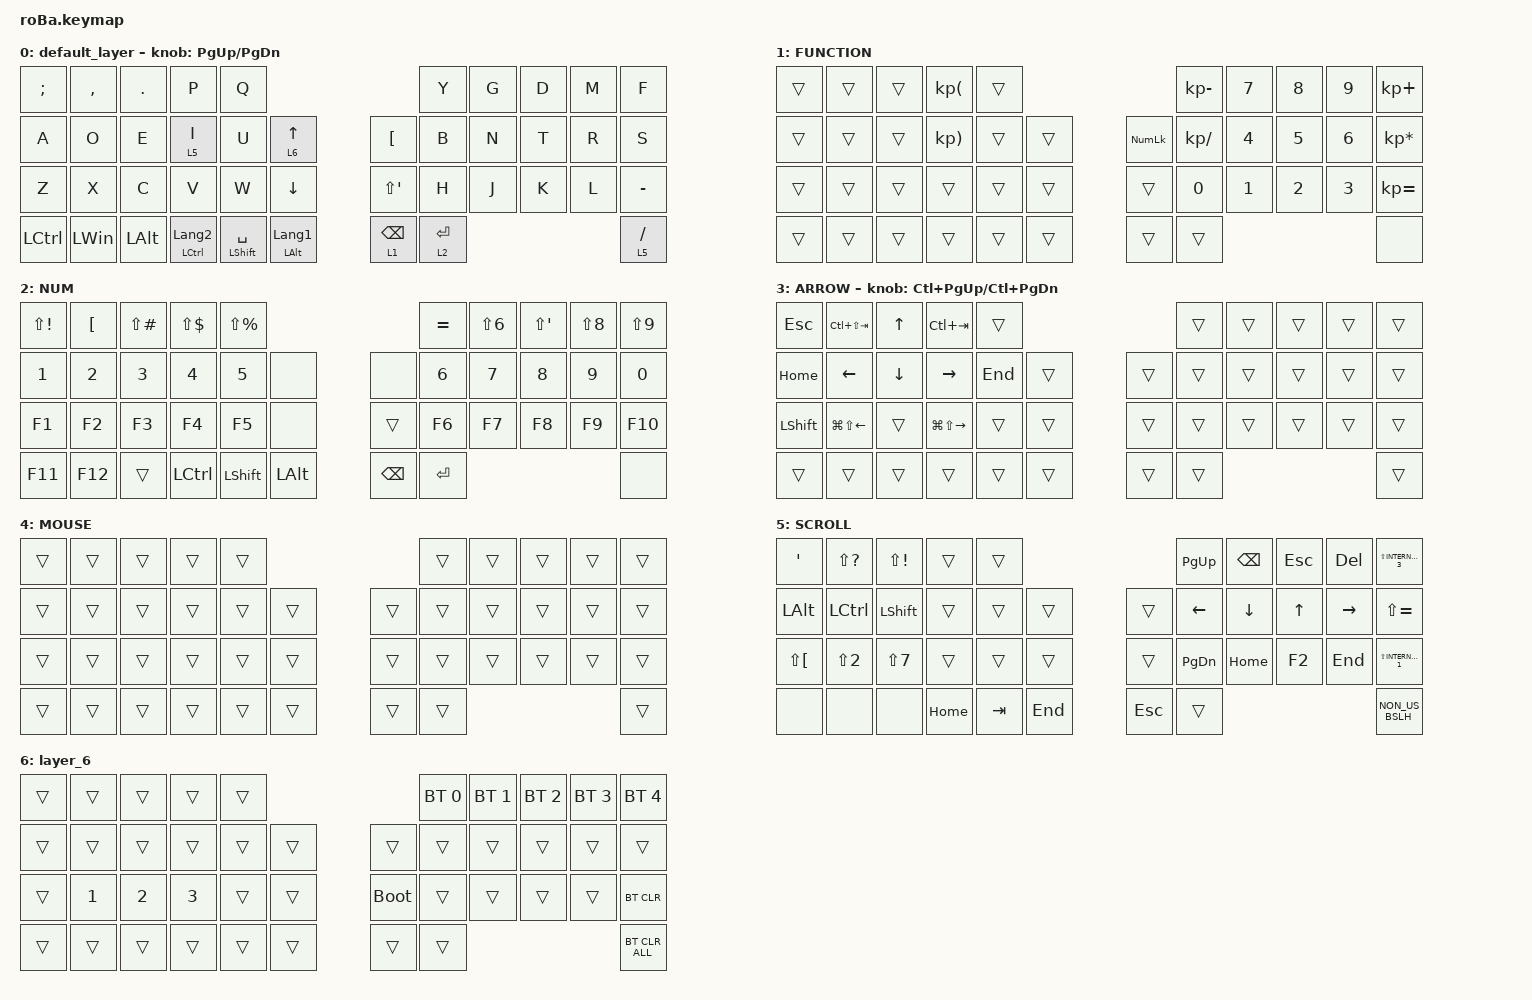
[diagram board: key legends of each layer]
#include <behaviors.dtsi>
#include <dt-bindings/zmk/bt.h>
#include <dt-bindings/zmk/keys.h>
#include <dt-bindings/zmk/pointing.h>

&mt {
    flavor = "balanced";
    quick-tap-ms = <0>;
};

&trackball {
    automouse-layer = <4>;
    scroll-layers = <5>;

    // arrows {
    //     layers = <3>;
    //     bindings =
    //         <&kp RIGHT_ARROW>,
    //         <&kp LEFT_ARROW>,
    //         <&kp UP_ARROW>,
    //         <&kp DOWN_ARROW>;
    //     tick = <10>;
    //     wait-ms = <5>;
    //     tap-ms = <5>;
    // };
};

/ {
    combos {
        compatible = "zmk,combos";

        cmb_lclk {
            bindings = <&mkp LCLK>;
            key-positions = <18 19>;
        };

        cmb_rclk {
            bindings = <&mkp RCLK>;
            key-positions = <19 20>;
        };

        cmb_mclk {
            bindings = <&mkp MCLK>;
            key-positions = <18 20>;
        };

        wrap_parent {
            bindings = <&wrap_parent>;
            key-positions = <14 17>;
        };

        wrap_brace {
            bindings = <&wrap_brace>;
            key-positions = <26 29>;
        };

        wrap_bracket {
            bindings = <&wrap_bracket>;
            key-positions = <4 5>;
        };
    };

    macros {
        wrap_parent: wrap_parent {
            compatible = "zmk,behavior-macro";
            #binding-cells = <0>;
            bindings = <&kp LS(N8) &kp LS(N9) &kp LEFT>;
            label = "WRAP_PARENT";
        };

        wrap_brace: wrap_brace {
            compatible = "zmk,behavior-macro";
            #binding-cells = <0>;
            bindings = <&kp LS(RIGHT_BRACKET) &kp LS(NON_US_HASH) &kp LEFT>;
            label = "WRAP_BRACE";
        };

        wrap_bracket: wrap_bracket {
            compatible = "zmk,behavior-macro";
            #binding-cells = <0>;
            bindings = <&kp RIGHT_BRACKET &kp NON_US_HASH &kp LEFT>;
            label = "WRAP_BRACKET";
        };

        kp_underscore: kp_underscore {
            compatible = "zmk,behavior-macro";
            #binding-cells = <0>;
            bindings = <&kp UNDER>;
            label = "KP_UNDERSCORE";
        };
    };

    keymap {
        compatible = "zmk,keymap";

        default_layer {
            bindings = <
&kp SEMI   &kp COMMA     &kp DOT       &kp P                 &kp Q                                                                    &kp Y        &kp G  &kp D  &kp M  &kp F
&kp A      &kp O         &kp E         &lt 5 I               &kp U                 &lt 6 UP_ARROW               &kp LEFT_BRACKET      &kp B        &kp N  &kp T  &kp R  &kp S
&kp Z      &kp X         &kp C         &kp V                 &kp W                 &kp DOWN_ARROW               &kp LS(SINGLE_QUOTE)  &kp H        &kp J  &kp K  &kp L  &kp MINUS
&kp LCTRL  &kp LEFT_WIN  &kp LEFT_ALT  &mt LCTRL LANGUAGE_2  &mt LEFT_SHIFT SPACE  &mt LEFT_ALT LANGUAGE_1      &lt 1 BACKSPACE       &lt 2 ENTER                       &lt 5 SLASH
            >;

            sensor-bindings = <&inc_dec_kp PG_UP PAGE_DOWN>;
        };

        FUNCTION {
            bindings = <
&trans  &trans  &trans  &kp KP_LEFT_PARENTHESIS   &trans                              &kp KP_SUBTRACT  &kp N7  &kp N8  &kp N9  &kp KP_PLUS
&trans  &trans  &trans  &kp KP_RIGHT_PARENTHESIS  &trans  &trans      &kp KP_NUMLOCK  &kp KP_DIVIDE    &kp N4  &kp N5  &kp N6  &kp KP_ASTERISK
&trans  &trans  &trans  &trans                    &trans  &trans      &trans          &kp N0           &kp N1  &kp N2  &kp N3  &kp KP_EQUAL
&trans  &trans  &trans  &trans                    &trans  &trans      &trans          &trans                                   &none
            >;
        };

        NUM {
            bindings = <
&kp LS(EXCL)  &kp LEFT_BRACKET  &kp LS(POUND)  &kp LS(DLLR)  &kp LS(PRCNT)                          &kp EQUAL  &kp LS(NUMBER_6)  &kp LS(SINGLE_QUOTE)  &kp LS(N8)  &kp LS(N9)
&kp N1        &kp N2            &kp N3         &kp N4        &kp N5         &none         &none     &kp N6     &kp N7            &kp N8                &kp N9      &kp N0
&kp F1        &kp F2            &kp F3         &kp F4        &kp F5         &none         &trans    &kp F6     &kp F7            &kp F8                &kp F9      &kp F10
&kp F11       &kp F12           &trans         &kp LCTRL     &kp LSHFT      &kp LALT      &kp BSPC  &kp ENTER                                                      &none
            >;
        };

        ARROW {
            bindings = <
&kp ESCAPE      &kp LC(LS(TAB))         &kp UP_ARROW    &kp LC(TAB)              &trans                       &trans  &trans  &trans  &trans  &trans
&kp HOME        &kp LEFT_ARROW          &kp DOWN_ARROW  &kp RIGHT_ARROW          &kp END  &trans      &trans  &trans  &trans  &trans  &trans  &trans
&kp LEFT_SHIFT  &kp LG(LS(LEFT_ARROW))  &trans          &kp LG(LS(RIGHT_ARROW))  &trans   &trans      &trans  &trans  &trans  &trans  &trans  &trans
&trans          &trans                  &trans          &trans                   &trans   &trans      &trans  &trans                          &trans
            >;

            sensor-bindings = <&inc_dec_kp LC(PAGE_UP) LC(PAGE_DOWN)>;
        };

        MOUSE {
            bindings = <
&trans  &trans  &trans  &trans  &trans                      &trans  &trans  &trans  &trans  &trans
&trans  &trans  &trans  &trans  &trans  &trans      &trans  &trans  &trans  &trans  &trans  &trans
&trans  &trans  &trans  &trans  &trans  &trans      &trans  &trans  &trans  &trans  &trans  &trans
&trans  &trans  &trans  &trans  &trans  &trans      &trans  &trans                          &trans
            >;
        };

        SCROLL {
            bindings = <
&kp SINGLE_QUOTE      &kp LS(QMARK)     &kp LS(EXCL)  &trans    &trans                         &kp PG_UP  &kp BSPC  &kp ESC  &kp DEL    &kp LS(INTERNATIONAL_3)
&kp LALT              &kp LCTRL         &kp LSHFT     &trans    &trans   &trans       &trans   &kp LEFT   &kp DOWN  &kp UP   &kp RIGHT  &kp LS(EQUAL)
&kp LS(LEFT_BRACKET)  &kp LS(NUMBER_2)  &kp LS(N7)    &trans    &trans   &trans       &trans   &kp PG_DN  &kp HOME  &kp F2   &kp END    &kp LS(INTERNATIONAL_1)
&none                 &none             &none         &kp HOME  &kp TAB  &kp END      &kp ESC  &trans                                   &kp NON_US_BSLH
            >;
        };

        layer_6 {
            bindings = <
&trans  &trans        &trans        &trans        &trans                           &bt BT_SEL 0  &bt BT_SEL 1  &bt BT_SEL 2  &bt BT_SEL 3  &bt BT_SEL 4
&trans  &trans        &trans        &trans        &trans  &trans      &trans       &trans        &trans        &trans        &trans        &trans
&trans  &kp NUMBER_1  &kp NUMBER_2  &kp NUMBER_3  &trans  &trans      &bootloader  &trans        &trans        &trans        &trans        &bt BT_CLR
&trans  &trans        &trans        &trans        &trans  &trans      &trans       &trans                                                  &bt BT_CLR_ALL
            >;
        };
    };
};
